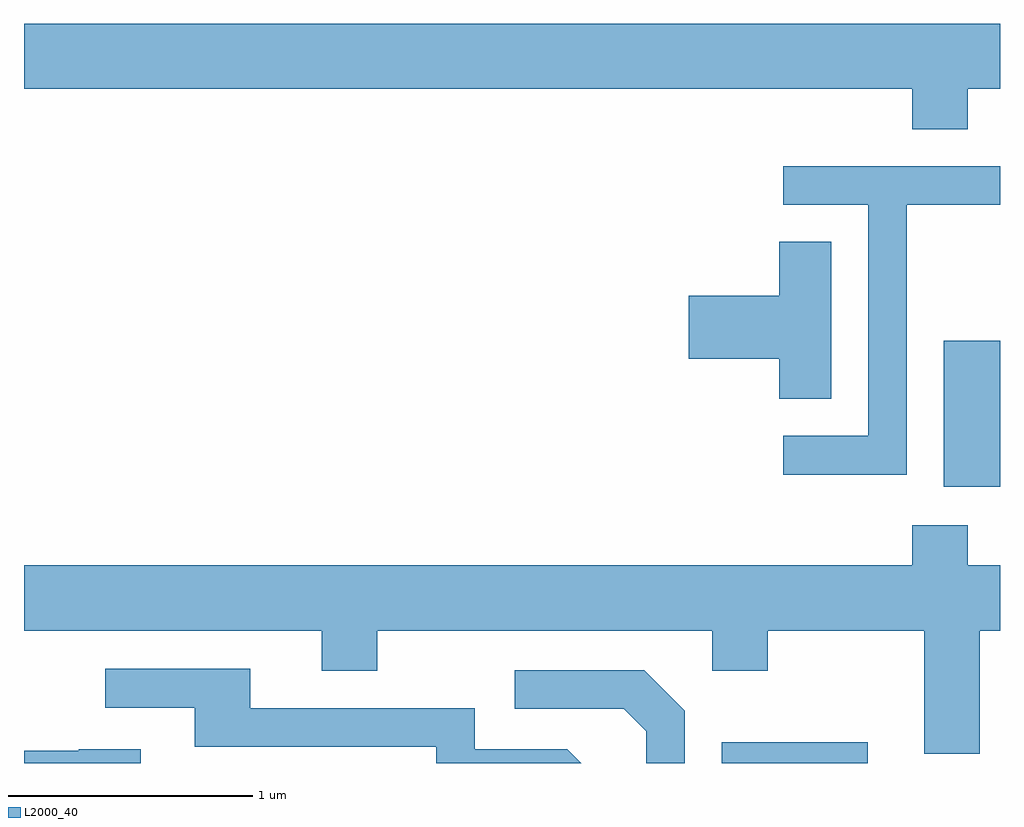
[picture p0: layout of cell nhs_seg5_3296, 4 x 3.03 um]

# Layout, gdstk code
import gdstk
lib = gdstk.Library(unit=1e-6, precision=1e-09)
def R(c, l, rs):  # rectangles x0, y0, x1, y1
    for r in rs: c.add(gdstk.rectangle(r[:2], r[2:], *l))
def P(c, l, *ps):  # polygons
    for p in ps: c.add(gdstk.Polygon(p, *l))
L2000_40 = (2000, 40)

nhs_seg5_3296 = lib.new_cell('nhs_seg5_3296')
R(nhs_seg5_3296, L2000_40, [(286.471,1414.072,287.069,1414.159), (287.381,1415.206,287.611,1415.804)])
P(nhs_seg5_3296, L2000_40, [(287.479,1416.836),(287.611,1416.836),(287.611,1417.104),(283.611,1417.104),(283.611,1416.836),(287.251,1416.836),(287.251,1416.671),(287.479,1416.671)],
  [(287.229,1416.361),(287.611,1416.361),(287.611,1416.519),(286.723,1416.519),(286.723,1416.361),(287.071,1416.361),(287.071,1415.414),(286.723,1415.414),(286.723,1415.256),(287.229,1415.256)],
  [(286.919,1416.209),(286.706,1416.209),(286.706,1415.989),(286.336,1415.989),(286.336,1415.731),(286.706,1415.731),(286.706,1415.566),(286.919,1415.566)],
  [(287.529,1414.616),(287.611,1414.616),(287.611,1414.884),(287.479,1414.884),(287.479,1415.049),(287.251,1415.049),(287.251,1414.884),(283.611,1414.884),(283.611,1414.616),(284.831,1414.616),(284.831,1414.451),(285.059,1414.451),(285.059,1414.616),(286.431,1414.616),(286.431,1414.451),(286.659,1414.451),(286.659,1414.616),(287.301,1414.616),(287.301,1414.111),(287.529,1414.111)],
  [(285.837,1414.129),(285.459,1414.129),(285.459,1414.299),(284.539,1414.299),(284.539,1414.459),(283.943,1414.459),(283.943,1414.301),(284.311,1414.301),(284.311,1414.141),(285.301,1414.141),(285.301,1414.072),(285.894,1414.072)],
  [(286.319,1414.287),(286.152,1414.454),(285.623,1414.454),(285.623,1414.296),(286.069,1414.296),(286.161,1414.204),(286.161,1414.072),(286.319,1414.072)],
  [(284.089,1414.129),(283.835,1414.129),(283.835,1414.124),(283.611,1414.124),(283.611,1414.072),(284.089,1414.072)])

lib.write_gds('nhs_seg5_3296.gds')
